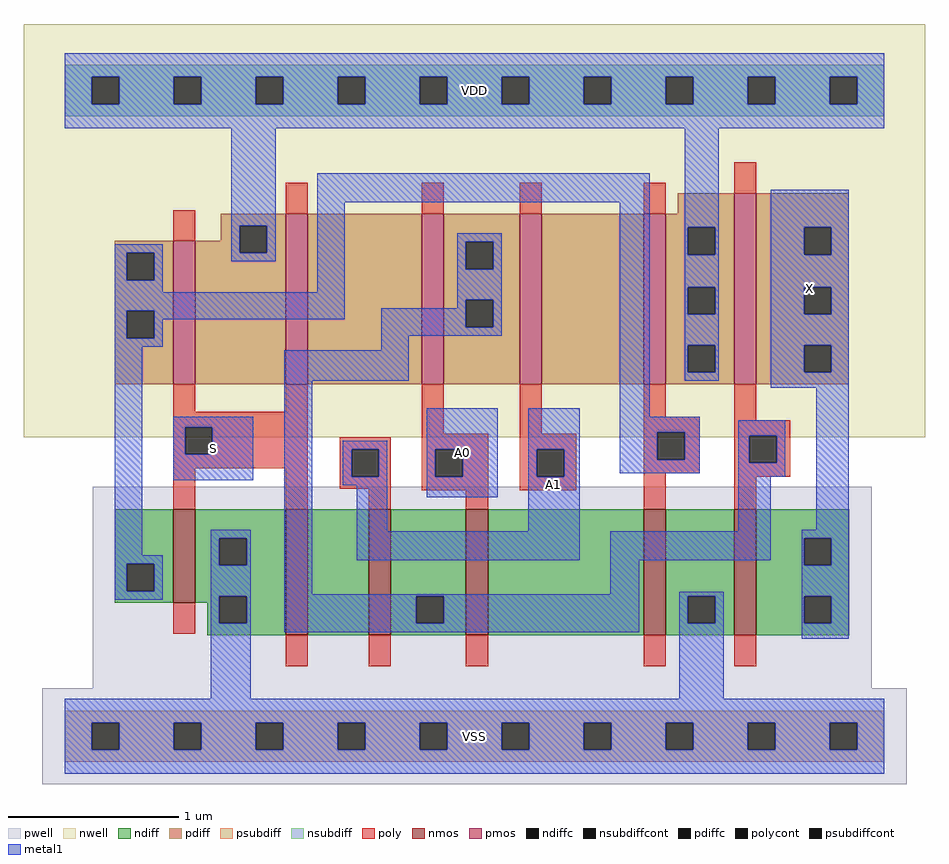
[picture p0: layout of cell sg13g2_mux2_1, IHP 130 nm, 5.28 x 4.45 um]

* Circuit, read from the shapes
.subckt sg13g2_mux2_1 A1 X S VDD VSS A0
XM1 VSS S n1 VSS sg13_lv_nmos w=0.55u l=0.13u
XM2 n2 S VSS VSS sg13_lv_nmos w=0.74u l=0.13u
XM3 n3 A1 n2 VSS sg13_lv_nmos w=0.74u l=0.13u
XM4 n4 A0 n3 VSS sg13_lv_nmos w=0.74u l=0.13u
XM5 VSS n1 n4 VSS sg13_lv_nmos w=0.74u l=0.13u
XM6 X n3 VSS VSS sg13_lv_nmos w=0.74u l=0.13u
XM7 VDD S n1 VDD sg13_lv_pmos w=0.84u l=0.13u
XM8 n5 S VDD VDD sg13_lv_pmos w=1u l=0.13u
XM9 n3 A0 n5 VDD sg13_lv_pmos w=1u l=0.13u
XM10 n6 A1 n3 VDD sg13_lv_pmos w=1u l=0.13u
XM11 VDD n1 n6 VDD sg13_lv_pmos w=1u l=0.13u
XM12 X n3 VDD VDD sg13_lv_pmos w=1.12u l=0.13u
.ends

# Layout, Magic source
magic
tech ihp-sg13g2
magscale 1 2
<< nwell >>
rect -48 350 1008 834
<< pwell >>
rect 33 56 945 292
rect -26 -56 986 56
<< nmos >>
rect 127 156 153 266
rect 259 118 285 266
rect 356 118 382 266
rect 470 118 496 266
rect 678 118 704 266
rect 784 118 810 266
<< pmos >>
rect 127 412 153 580
rect 259 412 285 612
rect 418 412 444 612
rect 533 412 559 612
rect 678 412 704 612
rect 784 412 810 636
<< ndiff >>
rect 59 202 127 266
rect 59 170 73 202
rect 105 170 127 202
rect 59 156 127 170
rect 153 232 259 266
rect 153 200 181 232
rect 213 200 259 232
rect 153 164 259 200
rect 153 156 181 164
rect 167 132 181 156
rect 213 132 259 164
rect 167 118 259 132
rect 285 118 356 266
rect 382 164 470 266
rect 382 132 412 164
rect 444 132 470 164
rect 382 118 470 132
rect 496 118 678 266
rect 704 164 784 266
rect 704 132 730 164
rect 762 132 784 164
rect 704 118 784 132
rect 810 232 919 266
rect 810 200 866 232
rect 898 200 919 232
rect 810 164 919 200
rect 810 132 866 164
rect 898 132 919 164
rect 810 118 919 132
<< pdiff >>
rect 718 612 784 636
rect 183 598 259 612
rect 183 580 205 598
rect 59 566 127 580
rect 59 534 73 566
rect 105 534 127 566
rect 59 498 127 534
rect 59 466 73 498
rect 105 466 127 498
rect 59 412 127 466
rect 153 566 205 580
rect 237 566 259 598
rect 153 412 259 566
rect 285 412 418 612
rect 444 579 533 612
rect 444 547 470 579
rect 502 547 533 579
rect 444 511 533 547
rect 444 479 470 511
rect 502 479 533 511
rect 444 412 533 479
rect 559 412 678 612
rect 704 596 784 612
rect 704 564 730 596
rect 762 564 784 596
rect 704 526 784 564
rect 704 494 730 526
rect 762 494 784 526
rect 704 458 784 494
rect 704 426 730 458
rect 762 426 784 458
rect 704 412 784 426
rect 810 596 918 636
rect 810 564 866 596
rect 898 564 918 596
rect 810 526 918 564
rect 810 494 866 526
rect 898 494 918 526
rect 810 458 918 494
rect 810 426 866 458
rect 898 426 918 458
rect 810 412 918 426
<< ndiffc >>
rect 73 170 105 202
rect 181 200 213 232
rect 181 132 213 164
rect 412 132 444 164
rect 730 132 762 164
rect 866 200 898 232
rect 866 132 898 164
<< pdiffc >>
rect 73 534 105 566
rect 73 466 105 498
rect 205 566 237 598
rect 470 547 502 579
rect 470 479 502 511
rect 730 564 762 596
rect 730 494 762 526
rect 730 426 762 458
rect 866 564 898 596
rect 866 494 898 526
rect 866 426 898 458
<< psubdiff >>
rect 0 16 960 30
rect 0 -16 32 16
rect 64 -16 128 16
rect 160 -16 224 16
rect 256 -16 320 16
rect 352 -16 416 16
rect 448 -16 512 16
rect 544 -16 608 16
rect 640 -16 704 16
rect 736 -16 800 16
rect 832 -16 896 16
rect 928 -16 960 16
rect 0 -30 960 -16
<< nsubdiff >>
rect 0 772 960 786
rect 0 740 32 772
rect 64 740 128 772
rect 160 740 224 772
rect 256 740 320 772
rect 352 740 416 772
rect 448 740 512 772
rect 544 740 608 772
rect 640 740 704 772
rect 736 740 800 772
rect 832 740 896 772
rect 928 740 960 772
rect 0 726 960 740
<< psubdiffcont >>
rect 32 -16 64 16
rect 128 -16 160 16
rect 224 -16 256 16
rect 320 -16 352 16
rect 416 -16 448 16
rect 512 -16 544 16
rect 608 -16 640 16
rect 704 -16 736 16
rect 800 -16 832 16
rect 896 -16 928 16
<< nsubdiffcont >>
rect 32 740 64 772
rect 128 740 160 772
rect 224 740 256 772
rect 320 740 352 772
rect 416 740 448 772
rect 512 740 544 772
rect 608 740 640 772
rect 704 740 736 772
rect 800 740 832 772
rect 896 740 928 772
<< poly >>
rect 127 580 153 616
rect 259 612 285 648
rect 418 612 444 648
rect 533 612 559 648
rect 678 612 704 648
rect 784 636 810 672
rect 127 380 153 412
rect 259 380 285 412
rect 127 362 285 380
rect 127 330 141 362
rect 173 330 285 362
rect 418 354 444 412
rect 533 354 559 412
rect 678 374 704 412
rect 678 356 744 374
rect 127 314 285 330
rect 127 266 153 314
rect 259 266 285 314
rect 322 336 382 350
rect 322 304 336 336
rect 368 304 382 336
rect 322 290 382 304
rect 356 266 382 290
rect 418 336 496 354
rect 418 304 434 336
rect 466 304 496 336
rect 418 288 496 304
rect 533 336 599 354
rect 533 304 553 336
rect 585 304 599 336
rect 533 288 599 304
rect 678 324 694 356
rect 726 324 744 356
rect 678 308 744 324
rect 784 370 810 412
rect 784 352 850 370
rect 784 320 802 352
rect 834 320 850 352
rect 470 266 496 288
rect 678 266 704 308
rect 784 304 850 320
rect 784 266 810 304
rect 127 120 153 156
rect 259 82 285 118
rect 356 82 382 118
rect 470 82 496 118
rect 678 82 704 118
rect 784 82 810 118
<< polycont >>
rect 141 330 173 362
rect 336 304 368 336
rect 434 304 466 336
rect 553 304 585 336
rect 694 324 726 356
rect 802 320 834 352
<< metal1 >>
rect 0 772 960 800
rect 0 740 32 772
rect 64 740 128 772
rect 160 740 224 772
rect 256 740 320 772
rect 352 740 416 772
rect 448 740 512 772
rect 544 740 608 772
rect 640 740 704 772
rect 736 740 800 772
rect 832 740 896 772
rect 928 740 960 772
rect 0 712 960 740
rect 195 598 247 712
rect 59 566 115 576
rect 59 534 73 566
rect 105 534 115 566
rect 195 566 205 598
rect 237 566 247 598
rect 195 556 247 566
rect 296 625 685 659
rect 59 520 115 534
rect 296 520 328 625
rect 59 498 328 520
rect 460 579 512 589
rect 460 547 470 579
rect 502 547 512 579
rect 460 511 512 547
rect 460 501 470 511
rect 59 466 73 498
rect 105 488 328 498
rect 105 466 115 488
rect 59 456 115 466
rect 371 479 470 501
rect 502 479 512 511
rect 371 469 512 479
rect 59 212 91 456
rect 371 452 403 469
rect 257 416 403 452
rect 127 362 221 374
rect 127 330 141 362
rect 173 330 221 362
rect 127 300 221 330
rect 171 232 218 242
rect 59 202 115 212
rect 59 170 73 202
rect 105 170 115 202
rect 59 160 115 170
rect 171 200 181 232
rect 213 200 218 232
rect 171 164 218 200
rect 171 132 181 164
rect 213 132 218 164
rect 171 44 218 132
rect 257 166 290 416
rect 326 336 378 346
rect 326 304 336 336
rect 368 304 378 336
rect 326 294 378 304
rect 342 240 378 294
rect 424 336 507 384
rect 424 304 434 336
rect 466 304 507 336
rect 424 280 507 304
rect 543 336 603 384
rect 543 304 553 336
rect 585 304 603 336
rect 650 374 685 625
rect 726 596 766 712
rect 726 564 730 596
rect 762 564 766 596
rect 726 526 766 564
rect 726 494 730 526
rect 762 494 766 526
rect 726 458 766 494
rect 726 426 730 458
rect 762 426 766 458
rect 726 416 766 426
rect 827 596 918 640
rect 827 564 866 596
rect 898 564 918 596
rect 827 526 918 564
rect 827 494 866 526
rect 898 494 918 526
rect 827 458 918 494
rect 827 426 866 458
rect 898 426 918 458
rect 827 408 918 426
rect 650 356 744 374
rect 650 324 694 356
rect 726 324 744 356
rect 650 308 744 324
rect 789 352 844 370
rect 789 320 802 352
rect 834 320 844 352
rect 543 240 603 304
rect 789 304 844 320
rect 789 240 827 304
rect 880 242 918 408
rect 342 206 603 240
rect 639 206 827 240
rect 863 232 918 242
rect 639 166 673 206
rect 863 200 866 232
rect 898 200 918 232
rect 257 164 673 166
rect 257 132 412 164
rect 444 132 673 164
rect 257 122 673 132
rect 720 164 772 169
rect 720 132 730 164
rect 762 132 772 164
rect 720 44 772 132
rect 863 164 918 200
rect 863 132 866 164
rect 898 132 918 164
rect 863 114 918 132
rect 0 16 960 44
rect 0 -16 32 16
rect 64 -16 128 16
rect 160 -16 224 16
rect 256 -16 320 16
rect 352 -16 416 16
rect 448 -16 512 16
rect 544 -16 608 16
rect 640 -16 704 16
rect 736 -16 800 16
rect 832 -16 896 16
rect 928 -16 960 16
rect 0 -44 960 -16
<< labels >>
flabel metal1 s 543 206 603 384 0 FreeSans 400 0 0 0 A1
port 2 nsew
flabel metal1 s 827 408 918 640 0 FreeSans 400 0 0 0 X
port 3 nsew
flabel metal1 s 127 300 221 374 0 FreeSans 400 0 0 0 S
port 4 nsew
flabel metal1 s 0 712 960 800 0 FreeSans 400 0 0 0 VDD
port 5 nsew
flabel metal1 s 0 -44 960 44 0 FreeSans 400 0 0 0 VSS
port 6 nsew
flabel metal1 s 424 280 507 384 0 FreeSans 400 0 0 0 A0
port 7 nsew
<< properties >>
string FIXED_BBOX 0 0 960 756
string GDS_END 207100
string GDS_FILE 6_final.gds
string GDS_START 200088
<< end >>
